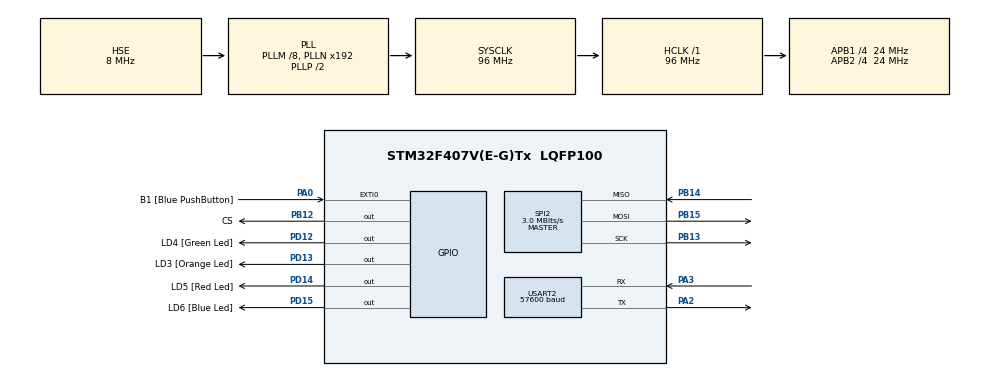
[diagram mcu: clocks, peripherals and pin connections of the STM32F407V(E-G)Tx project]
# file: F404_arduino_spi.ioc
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Mcu.Family=STM32F4
RCC.PLLSourceVirtual=RCC_PLLSOURCE_HSE
PD12.GPIO_Label=LD4 [Green Led]
PH0-OSC_IN.Signal=RCC_OSC_IN
RCC.CortexFreq_Value=96000000
PD12.GPIO_Speed=GPIO_SPEED_FREQ_LOW
PD15.GPIO_Label=LD6 [Blue Led]
SPI2.VirtualType=VM_MASTER
PD15.GPIO_Speed=GPIO_SPEED_FREQ_LOW
RCC.APB1CLKDivider=RCC_HCLK_DIV4
PB13.Signal=SPI2_SCK
PB15.Signal=SPI2_MOSI
USART2.BaudRate=57600
RCC.SYSCLKSource=RCC_SYSCLKSOURCE_PLLCLK
ProjectManager.StackSize=0x400
PA0-WKUP.GPIO_Label=B1 [Blue PushButton]
PA0-WKUP.Signal=GPXTI0
PA13.Signal=SYS_JTMS-SWDIO
PD13.Signal=GPIO_Output
PA3.Mode=Asynchronous
PD14.GPIO_Speed=GPIO_SPEED_FREQ_LOW
ProjectManager.TargetToolchain=STM32CubeIDE
RCC.HCLKFreq_Value=96000000
RCC.APB2TimFreq_Value=48000000
RCC.LSE_VALUE=32768
RCC.AHBFreq_Value=96000000
SPI2.BaudRatePrescaler=SPI_BAUDRATEPRESCALER_8
PH0-OSC_IN.Mode=HSE-External-Oscillator
PH0-OSC_IN.GPIO_Label=PH0-OSC_IN
PB14.Signal=SPI2_MISO
RCC.HSE_VALUE=8000000
board=STM32F407G-DISC1
PD13.GPIO_Speed=GPIO_SPEED_FREQ_LOW
RCC.VCOOutputFreq_Value=192000000
PB15.Mode=Full_Duplex_Master
PB12.GPIO_Label=CS
RCC.APB2Freq_Value=24000000
PA14.Mode=Serial_Wire
PB14.Mode=Full_Duplex_Master
SPI2.CalculateBaudRate=3.0 MBits/s
PH1-OSC_OUT.Signal=RCC_OSC_OUT
PD13.GPIO_PuPd=GPIO_NOPULL
PD14.GPIO_PuPd=GPIO_NOPULL
PD14.GPIO_Label=LD5 [Red Led]
PH1-OSC_OUT.GPIO_Label=PH1-OSC_OUT
PA13.Mode=Serial_Wire
Mcu.Name=STM32F407V(E-G)Tx
PA2.Signal=USART2_TX
PD14.Signal=GPIO_Output
PH1-OSC_OUT.Mode=HSE-External-Oscillator
RCC.48MHZClocksFreq_Value=27428571.42857143
RCC.SYSCLKFreq_VALUE=96000000
PD13.GPIO_Label=LD3 [Orange Led]
Mcu.Package=LQFP100
SPI2.Mode=SPI_MODE_MASTER
USART2.VirtualMode=VM_ASYNC
PD12.Signal=GPIO_Output
PD15.GPIO_PuPd=GPIO_NOPULL
PA14.Signal=SYS_JTCK-SWCLK
ProjectManager.HeapSize=0x200
RCC.HSI_VALUE=16000000
RCC.PLLQ=7
NVIC.PriorityGroup=NVIC_PRIORITYGROUP_0
RCC.APB2CLKDivider=RCC_HCLK_DIV4
RCC.PLLM=8
RCC.APB1TimFreq_Value=48000000
PA2.Mode=Asynchronous
SPI2.Direction=SPI_DIRECTION_2LINES
PB13.Mode=Full_Duplex_Master
RCC.APB1Freq_Value=24000000
PD15.Signal=GPIO_Output
PB12.Signal=GPIO_Output
PD12.GPIO_PuPd=GPIO_NOPULL
PA3.Signal=USART2_RX

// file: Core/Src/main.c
/* USER CODE BEGIN Header */
/**
  ******************************************************************************
  * @file           : main.c
  * @brief          : Main program body
  ******************************************************************************
  * @attention
  *
  * <h2><center>&copy; Copyright (c) 2021 STMicroelectronics.
  * All rights reserved.</center></h2>
  *
  * This software component is licensed by ST under BSD 3-Clause license,
  * the "License"; You may not use this file except in compliance with the
  * License. You may obtain a copy of the License at:
  *                        opensource.org/licenses/BSD-3-Clause
  *
  ******************************************************************************
  */
/* USER CODE END Header */
#include "main.h"

/* USER CODE BEGIN Includes */
#include "stdio.h"
#include "string.h"
/* USER CODE END Includes */

SPI_HandleTypeDef hspi2;

UART_HandleTypeDef huart2;

void SystemClock_Config(void);
static void MX_GPIO_Init(void);
static void MX_USART2_UART_Init(void);
static void MX_SPI2_Init(void);

/* USER CODE BEGIN 0 */
static char UART_msg_TX[50]; // массив для формирования сообщений для вывода по UART
uint8_t SPI_msg [2] = {0}; // массив для сообщений SPI
volatile uint8_t SPI_data = 0x1;
uint8_t SPI_temp = 0;
uint8_t SPI_status = 0;
uint8_t point = 0xCA;
uint8_t flag = 0;
/* USER CODE END 0 */

int main(void)
{

  /* MCU Configuration--------------------------------------------------------*/

  /* Reset of all peripherals, Initializes the Flash interface and the Systick. */
  HAL_Init();

  /* Configure the system clock */
  SystemClock_Config();

  /* Initialize all configured peripherals */
  MX_GPIO_Init();
  MX_USART2_UART_Init();
  MX_SPI2_Init();
  /* USER CODE BEGIN 2 */
  CS_OFF;
  HAL_GPIO_WritePin(LD3_GPIO_Port, LD3_Pin, ENABLE);
  HAL_GPIO_WritePin(LD4_GPIO_Port, LD4_Pin, DISABLE);
  HAL_GPIO_WritePin(LD5_GPIO_Port, LD5_Pin, DISABLE);
  HAL_GPIO_WritePin(LD6_GPIO_Port, LD6_Pin, DISABLE);
  sprintf (UART_msg_TX, "ARDUINO_connect\r\n");
  HAL_UART_Transmit (&huart2, (uint8_t*)UART_msg_TX, strlen(UART_msg_TX), 0xFF);
  /* USER CODE END 2 */

  /* Infinite loop */
  while (1)
  {

    /* USER CODE BEGIN 3 */
/*	if (flag)
	{

		flag = 0;
	}
*/

	HAL_GPIO_TogglePin (LD4_GPIO_Port, LD3_Pin);
	HAL_GPIO_TogglePin (LD4_GPIO_Port, LD4_Pin);
	CS_ON;
	SPI_status = HAL_SPI_TransmitReceive (&hspi2, &point, (uint8_t *)SPI_msg, 1, 0xFFFF);
	HAL_SPI_TransmitReceive (&hspi2, &point, (uint8_t *)&SPI_temp, 1, 0xFFFF);
	CS_OFF;

	sprintf (UART_msg_TX,  "ADC = %u, %u, temp = %d\n\r", SPI_msg [0], SPI_status,  SPI_temp);
	HAL_UART_Transmit (&huart2, (uint8_t*)UART_msg_TX, strlen(UART_msg_TX), 0xFF);
	SPI_data = 0x1A;
	HAL_Delay (1500);
  }
  /* USER CODE END 3 */
}

void SystemClock_Config(void)
{
  RCC_OscInitTypeDef RCC_OscInitStruct = {0};
  RCC_ClkInitTypeDef RCC_ClkInitStruct = {0};

  /** Configure the main internal regulator output voltage
  */
  __HAL_RCC_PWR_CLK_ENABLE();
  __HAL_PWR_VOLTAGESCALING_CONFIG(PWR_REGULATOR_VOLTAGE_SCALE1);
  /** Initializes the RCC Oscillators according to the specified parameters
  * in the RCC_OscInitTypeDef structure.
  */
  RCC_OscInitStruct.OscillatorType = RCC_OSCILLATORTYPE_HSE;
  RCC_OscInitStruct.HSEState = RCC_HSE_ON;
  RCC_OscInitStruct.PLL.PLLState = RCC_PLL_ON;
  RCC_OscInitStruct.PLL.PLLSource = RCC_PLLSOURCE_HSE;
  RCC_OscInitStruct.PLL.PLLM = 8;
  RCC_OscInitStruct.PLL.PLLN = 192;
  RCC_OscInitStruct.PLL.PLLP = RCC_PLLP_DIV2;
  RCC_OscInitStruct.PLL.PLLQ = 7;
  if (HAL_RCC_OscConfig(&RCC_OscInitStruct) != HAL_OK)
  {
    Error_Handler();
  }
  /** Initializes the CPU, AHB and APB buses clocks
  */
  RCC_ClkInitStruct.ClockType = RCC_CLOCKTYPE_HCLK|RCC_CLOCKTYPE_SYSCLK
                              |RCC_CLOCKTYPE_PCLK1|RCC_CLOCKTYPE_PCLK2;
  RCC_ClkInitStruct.SYSCLKSource = RCC_SYSCLKSOURCE_PLLCLK;
  RCC_ClkInitStruct.AHBCLKDivider = RCC_SYSCLK_DIV1;
  RCC_ClkInitStruct.APB1CLKDivider = RCC_HCLK_DIV4;
  RCC_ClkInitStruct.APB2CLKDivider = RCC_HCLK_DIV4;

  if (HAL_RCC_ClockConfig(&RCC_ClkInitStruct, FLASH_LATENCY_3) != HAL_OK)
  {
    Error_Handler();
  }
}

static void MX_SPI2_Init(void)
{

  /* SPI2 parameter configuration*/
  hspi2.Instance = SPI2;
  hspi2.Init.Mode = SPI_MODE_MASTER;
  hspi2.Init.Direction = SPI_DIRECTION_2LINES;
  hspi2.Init.DataSize = SPI_DATASIZE_8BIT;
  hspi2.Init.CLKPolarity = SPI_POLARITY_LOW;
  hspi2.Init.CLKPhase = SPI_PHASE_1EDGE;
  hspi2.Init.NSS = SPI_NSS_SOFT;
  hspi2.Init.BaudRatePrescaler = SPI_BAUDRATEPRESCALER_8;
  hspi2.Init.FirstBit = SPI_FIRSTBIT_MSB;
  hspi2.Init.TIMode = SPI_TIMODE_DISABLE;
  hspi2.Init.CRCCalculation = SPI_CRCCALCULATION_DISABLE;
  hspi2.Init.CRCPolynomial = 10;
  if (HAL_SPI_Init(&hspi2) != HAL_OK)
  {
    Error_Handler();
  }

}

static void MX_USART2_UART_Init(void)
{

  huart2.Instance = USART2;
  huart2.Init.BaudRate = 57600;
  huart2.Init.WordLength = UART_WORDLENGTH_8B;
  huart2.Init.StopBits = UART_STOPBITS_1;
  huart2.Init.Parity = UART_PARITY_NONE;
  huart2.Init.Mode = UART_MODE_TX_RX;
  huart2.Init.HwFlowCtl = UART_HWCONTROL_NONE;
  huart2.Init.OverSampling = UART_OVERSAMPLING_16;
  if (HAL_UART_Init(&huart2) != HAL_OK)
  {
    Error_Handler();
  }

}

static void MX_GPIO_Init(void)
{
  GPIO_InitTypeDef GPIO_InitStruct = {0};

  /* GPIO Ports Clock Enable */
  __HAL_RCC_GPIOH_CLK_ENABLE();
  __HAL_RCC_GPIOA_CLK_ENABLE();
  __HAL_RCC_GPIOB_CLK_ENABLE();
  __HAL_RCC_GPIOD_CLK_ENABLE();

  /*Configure GPIO pin Output Level */
  HAL_GPIO_WritePin(CS_GPIO_Port, CS_Pin, GPIO_PIN_RESET);

  /*Configure GPIO pin Output Level */
  HAL_GPIO_WritePin(GPIOD, LD4_Pin|LD3_Pin|LD5_Pin|LD6_Pin, GPIO_PIN_RESET);

  /*Configure GPIO pin : B1_Pin */
  GPIO_InitStruct.Pin = B1_Pin;
  GPIO_InitStruct.Mode = GPIO_MODE_IT_RISING;
  GPIO_InitStruct.Pull = GPIO_NOPULL;
  HAL_GPIO_Init(B1_GPIO_Port, &GPIO_InitStruct);

  /*Configure GPIO pin : CS_Pin */
  GPIO_InitStruct.Pin = CS_Pin;
  GPIO_InitStruct.Mode = GPIO_MODE_OUTPUT_PP;
  GPIO_InitStruct.Pull = GPIO_NOPULL;
  GPIO_InitStruct.Speed = GPIO_SPEED_FREQ_LOW;
  HAL_GPIO_Init(CS_GPIO_Port, &GPIO_InitStruct);

  /*Configure GPIO pins : LD4_Pin LD3_Pin LD5_Pin LD6_Pin */
  GPIO_InitStruct.Pin = LD4_Pin|LD3_Pin|LD5_Pin|LD6_Pin;
  GPIO_InitStruct.Mode = GPIO_MODE_OUTPUT_PP;
  GPIO_InitStruct.Pull = GPIO_NOPULL;
  GPIO_InitStruct.Speed = GPIO_SPEED_FREQ_LOW;
  HAL_GPIO_Init(GPIOD, &GPIO_InitStruct);

}

/* USER CODE BEGIN 4 */
void HAL_SPI_TxRxCpltCallback(SPI_HandleTypeDef *hspi)
{
  if(hspi == &hspi2)
  {
	HAL_GPIO_TogglePin (LD6_GPIO_Port, LD6_Pin);
	if(!hspi2.TxXferCount && !flag)
	{
		flag = 1;
	}
  }
}
/* USER CODE END 4 */

void Error_Handler(void)
{
  __disable_irq();
  while (1)
  {
  }
}

/************************ (C) COPYRIGHT STMicroelectronics *****END OF FILE****/
